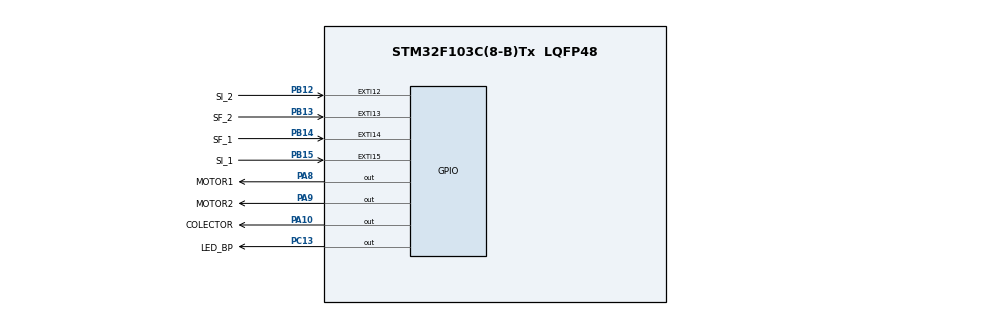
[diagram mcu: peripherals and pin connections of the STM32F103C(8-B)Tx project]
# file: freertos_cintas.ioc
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FREERTOS.Tasks01=defaultTask,24,128,StartDefaultTask,Default,NULL,Dynamic,NULL,NULL
FREERTOS.configTOTAL_HEAP_SIZE=8000
FREERTOS.configUSE_NEWLIB_REENTRANT=1
FREERTOS.configUSE_TICKLESS_IDLE=1
Mcu.Family=STM32F1
Mcu.Name=STM32F103C(8-B)Tx
Mcu.Package=LQFP48
NVIC.EXTI15_10_IRQn=true\:5\:0\:false\:false\:true\:true\:true\:true\:true
NVIC.PriorityGroup=NVIC_PRIORITYGROUP_4
NVIC.TIM1_UP_IRQn=true\:15\:0\:false\:false\:true\:false\:false\:true\:true
NVIC.TimeBase=TIM1_UP_IRQn
NVIC.TimeBaseIP=TIM1
PA10.GPIO_Label=COLECTOR
PA10.Signal=GPIO_Output
PA13.Mode=Serial_Wire
PA13.Signal=SYS_JTMS-SWDIO
PA14.Mode=Serial_Wire
PA14.Signal=SYS_JTCK-SWCLK
PA8.GPIO_Label=MOTOR1
PA8.Signal=GPIO_Output
PA9.GPIO_Label=MOTOR2
PA9.Signal=GPIO_Output
PB12.GPIO_Label=SI_2
PB12.GPIO_PuPd=GPIO_PULLDOWN
PB12.Signal=GPXTI12
PB13.GPIO_Label=SF_2
PB13.GPIO_PuPd=GPIO_PULLDOWN
PB13.Signal=GPXTI13
PB14.GPIO_Label=SF_1
PB14.GPIO_PuPd=GPIO_PULLDOWN
PB14.Signal=GPXTI14
PB15.GPIO_Label=SI_1
PB15.GPIO_PuPd=GPIO_PULLDOWN
PB15.Signal=GPXTI15
PC13-TAMPER-RTC.GPIO_Label=LED_BP
PC13-TAMPER-RTC.Signal=GPIO_Output
PC14-OSC32_IN.Mode=LSE-External-Oscillator
PC14-OSC32_IN.Signal=RCC_OSC32_IN
PC15-OSC32_OUT.Mode=LSE-External-Oscillator
PC15-OSC32_OUT.Signal=RCC_OSC32_OUT
PD0-OSC_IN.Mode=HSE-External-Oscillator
PD0-OSC_IN.Signal=RCC_OSC_IN
PD1-OSC_OUT.Mode=HSE-External-Oscillator
PD1-OSC_OUT.Signal=RCC_OSC_OUT
ProjectManager.HeapSize=0x200
ProjectManager.StackSize=0x400
ProjectManager.TargetToolchain=STM32CubeIDE
RCC.APB1Freq_Value=8000000
RCC.APB2Freq_Value=8000000
VP_FREERTOS_VS_CMSIS_V2.Mode=CMSIS_V2
VP_SYS_VS_tim1.Mode=TIM1
board=custom

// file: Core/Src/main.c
/* USER CODE BEGIN Header */
/**
  ******************************************************************************
  * @file           : main.c
  * @brief          : Main program body
  ******************************************************************************
  * @attention
  *
  * Copyright (c) 2025 STMicroelectronics.
  * All rights reserved.
  *
  * This software is licensed under terms that can be found in the LICENSE file
  * in the root directory of this software component.
  * If no LICENSE file comes with this software, it is provided AS-IS.
  *
  ******************************************************************************
  */
/* USER CODE END Header */
#include "main.h"
#include "cmsis_os.h"

/* USER CODE BEGIN Includes */
#include "FreeRTOS.h"
#include "task.h"
#include "semphr.h"
#include "user_gpio.h"
/* USER CODE END Includes */

/* USER CODE BEGIN PTD */

typedef struct TASK_DATA{
	uint8_t id;
	GPIO_TypeDef *motor_port;
	uint16_t motor_pin;
	xSemaphoreHandle semphr_si;
	xSemaphoreHandle semphr_sf;
}TASK_DATA_T ;

/* USER CODE END PTD */

/* Definitions for defaultTask */
osThreadId_t defaultTaskHandle;
const osThreadAttr_t defaultTask_attributes = {
  .name = "defaultTask",
  .stack_size = 128 * 4,
  .priority = (osPriority_t) osPriorityNormal,
};
/* USER CODE BEGIN PV */

static xSemaphoreHandle mutex_colector;
static TASK_DATA_T cinta1, cinta2;

/* USER CODE END PV */

void SystemClock_Config(void);
static void MX_GPIO_Init(void);
void StartDefaultTask(void *argument);

/* USER CODE BEGIN PFP */

static void init_TaskData(void)
{
	mutex_colector = xSemaphoreCreateMutex();

	cinta1.id = 1;
	cinta1.motor_port = MOTOR1_GPIO_Port;
	cinta1.motor_pin = MOTOR1_Pin;
	cinta1.semphr_si = xSemaphoreCreateBinary();
	cinta1.semphr_sf = xSemaphoreCreateBinary();

	cinta2.id = 2;
	cinta2.motor_port = MOTOR2_GPIO_Port;
	cinta2.motor_pin = MOTOR2_Pin;
	cinta2.semphr_si = xSemaphoreCreateBinary();
	cinta2.semphr_sf = xSemaphoreCreateBinary();

}

static void taskCinta(void *data)
{
	TASK_DATA_T *cinta = (TASK_DATA_T*)data;
	while(1) {
		xSemaphoreTake(cinta->semphr_si,portMAX_DELAY); // Si puedo tomar el semaforo, es decir, se activo el sensor inferior 1

		prenderMotor(cinta->motor_port, cinta->motor_pin); // Prendo la cinta

		if(xSemaphoreTake(mutex_colector,0)==pdTRUE){ // Si puedo tomar el semaforo mutex, soy el primero y pongo en pos el colector
			ponerColectorEnPosicion(cinta->id);		  // Si no puedo tomarlo no me importa y sigue andado
		}

		xSemaphoreTake(cinta->semphr_sf,portMAX_DELAY);	// Espero al sensor final

		if (posicionColector()!= cinta->id){
			apagarMotor(cinta->motor_port, cinta->motor_pin);
			xSemaphoreTake(mutex_colector,portMAX_DELAY);
			ponerColectorEnPosicion(cinta->id);
			prenderMotor(cinta->motor_port, cinta->motor_pin);
		}

		vTaskDelay(3000);
		apagarMotor(cinta->motor_port, cinta->motor_pin);
		xSemaphoreGive(mutex_colector);

		// para el anti rebote
		xSemaphoreTake(cinta->semphr_si,0);
		xSemaphoreTake(cinta->semphr_sf,0);
	}
}

void HAL_GPIO_EXTI_Callback(uint16_t GPIO_Pin)
{
	BaseType_t switch_required = pdFALSE;

	switch (GPIO_Pin){

	case SI_1_Pin:
			xSemaphoreGiveFromISR(cinta1.semphr_si, &switch_required);
			break;

	case SF_1_Pin:
			xSemaphoreGiveFromISR(cinta1.semphr_sf, &switch_required);
			break;

	case SI_2_Pin:
			xSemaphoreGiveFromISR(cinta2.semphr_si, &switch_required);
			break;

	case SF_2_Pin:
			xSemaphoreGiveFromISR(cinta2.semphr_sf, &switch_required);
			break;
	}

	portEND_SWITCHING_ISR(switch_required);
}
/* USER CODE END PFP */

int main(void)
{

  /* MCU Configuration--------------------------------------------------------*/

  /* Reset of all peripherals, Initializes the Flash interface and the Systick. */
  HAL_Init();

  /* Configure the system clock */
  SystemClock_Config();

  /* Initialize all configured peripherals */
  MX_GPIO_Init();
  /* USER CODE BEGIN 2 */
  init_TaskData();
  user_gpio_init();
  /* USER CODE END 2 */

  /* Init scheduler */
  osKernelInitialize();

  /* Create the thread(s) */
  /* creation of defaultTask */
  defaultTaskHandle = osThreadNew(StartDefaultTask, NULL, &defaultTask_attributes);

  /* USER CODE BEGIN RTOS_THREADS */
  /* add threads, ... */

  xTaskCreate(taskCinta, (const char*)"taskCinta1", configMINIMAL_STACK_SIZE, &cinta1, osPriorityNormal, 0);
  xTaskCreate(taskCinta, (const char*)"taskCinta2", configMINIMAL_STACK_SIZE, &cinta2, osPriorityNormal, 0);

  /* USER CODE END RTOS_THREADS */

  /* Start scheduler */
  osKernelStart();

  /* We should never get here as control is now taken by the scheduler */

  /* Infinite loop */
  while (1)
  {

  }
}

void SystemClock_Config(void)
{
  RCC_OscInitTypeDef RCC_OscInitStruct = {0};
  RCC_ClkInitTypeDef RCC_ClkInitStruct = {0};

  /** Initializes the RCC Oscillators according to the specified parameters
  * in the RCC_OscInitTypeDef structure.
  */
  RCC_OscInitStruct.OscillatorType = RCC_OSCILLATORTYPE_HSI;
  RCC_OscInitStruct.HSIState = RCC_HSI_ON;
  RCC_OscInitStruct.HSICalibrationValue = RCC_HSICALIBRATION_DEFAULT;
  RCC_OscInitStruct.PLL.PLLState = RCC_PLL_NONE;
  if (HAL_RCC_OscConfig(&RCC_OscInitStruct) != HAL_OK)
  {
    Error_Handler();
  }

  /** Initializes the CPU, AHB and APB buses clocks
  */
  RCC_ClkInitStruct.ClockType = RCC_CLOCKTYPE_HCLK|RCC_CLOCKTYPE_SYSCLK
                              |RCC_CLOCKTYPE_PCLK1|RCC_CLOCKTYPE_PCLK2;
  RCC_ClkInitStruct.SYSCLKSource = RCC_SYSCLKSOURCE_HSI;
  RCC_ClkInitStruct.AHBCLKDivider = RCC_SYSCLK_DIV1;
  RCC_ClkInitStruct.APB1CLKDivider = RCC_HCLK_DIV1;
  RCC_ClkInitStruct.APB2CLKDivider = RCC_HCLK_DIV1;

  if (HAL_RCC_ClockConfig(&RCC_ClkInitStruct, FLASH_LATENCY_0) != HAL_OK)
  {
    Error_Handler();
  }
}

static void MX_GPIO_Init(void)
{
  GPIO_InitTypeDef GPIO_InitStruct = {0};

  /* GPIO Ports Clock Enable */
  __HAL_RCC_GPIOC_CLK_ENABLE();
  __HAL_RCC_GPIOD_CLK_ENABLE();
  __HAL_RCC_GPIOB_CLK_ENABLE();
  __HAL_RCC_GPIOA_CLK_ENABLE();

  /*Configure GPIO pin Output Level */
  HAL_GPIO_WritePin(LED_BP_GPIO_Port, LED_BP_Pin, GPIO_PIN_RESET);

  /*Configure GPIO pin Output Level */
  HAL_GPIO_WritePin(GPIOA, MOTOR1_Pin|MOTOR2_Pin|COLECTOR_Pin, GPIO_PIN_RESET);

  /*Configure GPIO pin : LED_BP_Pin */
  GPIO_InitStruct.Pin = LED_BP_Pin;
  GPIO_InitStruct.Mode = GPIO_MODE_OUTPUT_PP;
  GPIO_InitStruct.Pull = GPIO_NOPULL;
  GPIO_InitStruct.Speed = GPIO_SPEED_FREQ_LOW;
  HAL_GPIO_Init(LED_BP_GPIO_Port, &GPIO_InitStruct);

  /*Configure GPIO pins : SI_2_Pin SF_2_Pin SF_1_Pin SI_1_Pin */
  GPIO_InitStruct.Pin = SI_2_Pin|SF_2_Pin|SF_1_Pin|SI_1_Pin;
  GPIO_InitStruct.Mode = GPIO_MODE_IT_RISING;
  GPIO_InitStruct.Pull = GPIO_PULLDOWN;
  HAL_GPIO_Init(GPIOB, &GPIO_InitStruct);

  /*Configure GPIO pins : MOTOR1_Pin MOTOR2_Pin COLECTOR_Pin */
  GPIO_InitStruct.Pin = MOTOR1_Pin|MOTOR2_Pin|COLECTOR_Pin;
  GPIO_InitStruct.Mode = GPIO_MODE_OUTPUT_PP;
  GPIO_InitStruct.Pull = GPIO_NOPULL;
  GPIO_InitStruct.Speed = GPIO_SPEED_FREQ_LOW;
  HAL_GPIO_Init(GPIOA, &GPIO_InitStruct);

  /* EXTI interrupt init*/
  HAL_NVIC_SetPriority(EXTI15_10_IRQn, 5, 0);
  HAL_NVIC_EnableIRQ(EXTI15_10_IRQn);

}

void StartDefaultTask(void *argument)
{
  for(;;)
  {
    osDelay(1);
  }
}

void HAL_TIM_PeriodElapsedCallback(TIM_HandleTypeDef *htim)
{
  if (htim->Instance == TIM1)
  {
    HAL_IncTick();
  }
}

void Error_Handler(void)
{
  __disable_irq();
  while (1)
  {
  }
}
